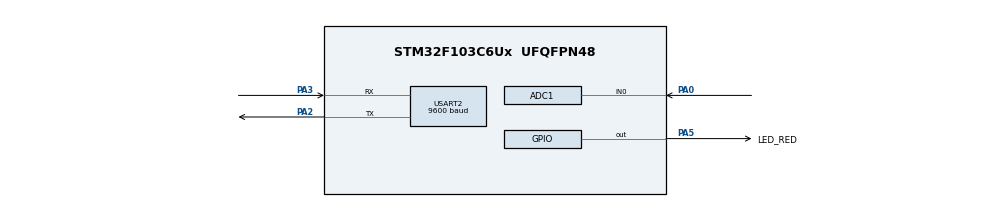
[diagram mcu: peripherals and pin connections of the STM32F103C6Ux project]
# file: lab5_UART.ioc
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ADC1.Channel-0\#ChannelRegularConversion=ADC_CHANNEL_0
ADC1.ContinuousConvMode=ENABLE
ADC1.NbrOfConversionFlag=1
ADC1.Rank-0\#ChannelRegularConversion=1
ADC1.SamplingTime-0\#ChannelRegularConversion=ADC_SAMPLETIME_1CYCLE_5
ADC1.master=1
Mcu.Family=STM32F1
Mcu.Name=STM32F103C6Ux
Mcu.Package=UFQFPN48
NVIC.PriorityGroup=NVIC_PRIORITYGROUP_4
NVIC.USART2_IRQn=true\:0\:0\:false\:false\:true\:true\:true
PA0-WKUP.Signal=ADCx_IN0
PA2.Mode=Asynchronous
PA2.Signal=USART2_TX
PA3.Mode=Asynchronous
PA3.Signal=USART2_RX
PA5.GPIO_Label=LED_RED
PA5.Signal=GPIO_Output
ProjectManager.HeapSize=0x200
ProjectManager.StackSize=0x400
ProjectManager.TargetToolchain=STM32CubeIDE
RCC.APB1Freq_Value=8000000
RCC.APB2Freq_Value=8000000
SH.ADCx_IN0.0=ADC1_IN0,IN0
USART2.BaudRate=9600
USART2.VirtualMode=VM_ASYNC
VP_SYS_VS_ND.Mode=No_Debug
board=custom

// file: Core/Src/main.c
/* USER CODE BEGIN Header */
/**
  ******************************************************************************
  * @file           : main.c
  * @brief          : Main program body
  ******************************************************************************
  * @attention
  *
  * <h2><center>&copy; Copyright (c) 2025 STMicroelectronics.
  * All rights reserved.</center></h2>
  *
  * This software component is licensed by ST under BSD 3-Clause license,
  * the "License"; You may not use this file except in compliance with the
  * License. You may obtain a copy of the License at:
  *                        opensource.org/licenses/BSD-3-Clause
  *
  ******************************************************************************
  */
/* USER CODE END Header */
#include "main.h"

/* USER CODE BEGIN Includes */
#include <stdio.h>
#include <string.h>
/* USER CODE END Includes */

ADC_HandleTypeDef hadc1;

UART_HandleTypeDef huart2;

void SystemClock_Config(void);
static void MX_GPIO_Init(void);
static void MX_ADC1_Init(void);
static void MX_USART2_UART_Init(void);

/* USER CODE BEGIN 0 */

uint8_t temp = 0;                 // Byte nhận từ UART
uint8_t buffer[30];               // Buffer lưu dữ liệu UART
uint8_t index_buffer = 0;
uint8_t buffer_flag = 0;

uint32_t ADC_value = 0;
uint8_t last_char = 0;
char str[20];

// FSM flag
typedef enum {CMD_NONE, CMD_RST, CMD_OK} CommandType;
CommandType command_flag = CMD_NONE;

void HAL_UART_RxCpltCallback(UART_HandleTypeDef *huart)
{
	if(huart->Instance == USART2)
	{
        buffer[index_buffer] = temp;   // lưu vào buffer
        last_char = temp;              // ký tự mới nhất
        index_buffer++;

        if(index_buffer >= 30) index_buffer = 0;

        buffer_flag = 1;

		HAL_UART_Transmit(&huart2, &temp, 1, 50);
		HAL_UART_Receive_IT(&huart2, &temp, 1);
	}
}

typedef enum {WAIT_START, RECEIVE_CMD} ParserState;
ParserState parser_state = WAIT_START;

void command_parser_fsm(void)
{
    static char cmd[10];
    static uint8_t cmd_index = 0;

    for(uint8_t i = 0; i < index_buffer; i++)
    {
        char c = buffer[i];

        switch(parser_state)
        {
            case WAIT_START:
                if(c == '!'){
                    parser_state = RECEIVE_CMD;
                    cmd_index = 0;
                }
                break;

            case RECEIVE_CMD:
                if(c == '#'){
                    cmd[cmd_index] = '\0';

                    if(strcmp(cmd, "RST") == 0)
                        command_flag = CMD_RST;
                    else if(strcmp(cmd, "OK") == 0)
                        command_flag = CMD_OK;

                    parser_state = WAIT_START;
                }
                else {
                    if(cmd_index < 9)
                        cmd[cmd_index++] = c;
                }
                break;
        }
    }

    // chỉ reset buffer khi đã đọc hết
    index_buffer = 0;
}

typedef enum {IDLE, SEND_ADC, WAIT_OK} UARTState;
UARTState uart_state = IDLE;

uint32_t time_stamp = 0;

void uart_communication_fsm(void)
{
    switch(uart_state)
    {
        case IDLE:
            if(command_flag == CMD_RST)
            {
            	ADC_value = HAL_ADC_GetValue(&hadc1);
                uart_state = SEND_ADC;
                command_flag = CMD_NONE; // reset khi bắt đầu gửi ADC
            }
            break;

        case SEND_ADC:
            //ADC_value = HAL_ADC_GetValue(&hadc1);

            sprintf(str, "!ADC=%lu#", ADC_value);
            HAL_UART_Transmit(&huart2, (uint8_t*)str, strlen(str), 100);

            time_stamp = HAL_GetTick();
            uart_state = WAIT_OK;
            break;

        case WAIT_OK:
            if(command_flag == CMD_OK)
            {
                uart_state = IDLE;
                command_flag = CMD_NONE; // reset khi nhận OK
            }
            else if(HAL_GetTick() - time_stamp > 3000)
            {
                uart_state = SEND_ADC;  // timeout → gửi lại ADC
            }
            break;
    }
}

/* USER CODE END 0 */

int main(void)
{

  /* MCU Configuration--------------------------------------------------------*/

  /* Reset of all peripherals, Initializes the Flash interface and the Systick. */
  HAL_Init();

  /* Configure the system clock */
  SystemClock_Config();

  /* Initialize all configured peripherals */
  MX_GPIO_Init();
  MX_ADC1_Init();
  MX_USART2_UART_Init();
  /* USER CODE BEGIN 2 */
  HAL_ADC_Start(&hadc1);
  HAL_UART_Receive_IT(&huart2, &temp, 1);
  /* USER CODE END 2 */

  /* Infinite loop */
  /* USER CODE BEGIN WHILE */
  //uint32_t ADC_value = 0;
  //char str[10];
  while (1)
  {
	  HAL_GPIO_TogglePin(LED_RED_GPIO_Port, LED_RED_Pin);
	  HAL_Delay(500);

      if(buffer_flag){
          command_parser_fsm();
          buffer_flag = 0;
      }

      // Xử lý giao thức UART
      uart_communication_fsm();

    /* USER CODE END WHILE */

  }
}

void SystemClock_Config(void)
{
  RCC_OscInitTypeDef RCC_OscInitStruct = {0};
  RCC_ClkInitTypeDef RCC_ClkInitStruct = {0};
  RCC_PeriphCLKInitTypeDef PeriphClkInit = {0};

  /** Initializes the RCC Oscillators according to the specified parameters
  * in the RCC_OscInitTypeDef structure.
  */
  RCC_OscInitStruct.OscillatorType = RCC_OSCILLATORTYPE_HSI;
  RCC_OscInitStruct.HSIState = RCC_HSI_ON;
  RCC_OscInitStruct.HSICalibrationValue = RCC_HSICALIBRATION_DEFAULT;
  RCC_OscInitStruct.PLL.PLLState = RCC_PLL_NONE;
  if (HAL_RCC_OscConfig(&RCC_OscInitStruct) != HAL_OK)
  {
    Error_Handler();
  }
  /** Initializes the CPU, AHB and APB buses clocks
  */
  RCC_ClkInitStruct.ClockType = RCC_CLOCKTYPE_HCLK|RCC_CLOCKTYPE_SYSCLK
                              |RCC_CLOCKTYPE_PCLK1|RCC_CLOCKTYPE_PCLK2;
  RCC_ClkInitStruct.SYSCLKSource = RCC_SYSCLKSOURCE_HSI;
  RCC_ClkInitStruct.AHBCLKDivider = RCC_SYSCLK_DIV1;
  RCC_ClkInitStruct.APB1CLKDivider = RCC_HCLK_DIV1;
  RCC_ClkInitStruct.APB2CLKDivider = RCC_HCLK_DIV1;

  if (HAL_RCC_ClockConfig(&RCC_ClkInitStruct, FLASH_LATENCY_0) != HAL_OK)
  {
    Error_Handler();
  }
  PeriphClkInit.PeriphClockSelection = RCC_PERIPHCLK_ADC;
  PeriphClkInit.AdcClockSelection = RCC_ADCPCLK2_DIV2;
  if (HAL_RCCEx_PeriphCLKConfig(&PeriphClkInit) != HAL_OK)
  {
    Error_Handler();
  }
}

static void MX_ADC1_Init(void)
{

  ADC_ChannelConfTypeDef sConfig = {0};

  /** Common config
  */
  hadc1.Instance = ADC1;
  hadc1.Init.ScanConvMode = ADC_SCAN_DISABLE;
  hadc1.Init.ContinuousConvMode = ENABLE;
  hadc1.Init.DiscontinuousConvMode = DISABLE;
  hadc1.Init.ExternalTrigConv = ADC_SOFTWARE_START;
  hadc1.Init.DataAlign = ADC_DATAALIGN_RIGHT;
  hadc1.Init.NbrOfConversion = 1;
  if (HAL_ADC_Init(&hadc1) != HAL_OK)
  {
    Error_Handler();
  }
  /** Configure Regular Channel
  */
  sConfig.Channel = ADC_CHANNEL_0;
  sConfig.Rank = ADC_REGULAR_RANK_1;
  sConfig.SamplingTime = ADC_SAMPLETIME_1CYCLE_5;
  if (HAL_ADC_ConfigChannel(&hadc1, &sConfig) != HAL_OK)
  {
    Error_Handler();
  }

}

static void MX_USART2_UART_Init(void)
{

  huart2.Instance = USART2;
  huart2.Init.BaudRate = 9600;
  huart2.Init.WordLength = UART_WORDLENGTH_8B;
  huart2.Init.StopBits = UART_STOPBITS_1;
  huart2.Init.Parity = UART_PARITY_NONE;
  huart2.Init.Mode = UART_MODE_TX_RX;
  huart2.Init.HwFlowCtl = UART_HWCONTROL_NONE;
  huart2.Init.OverSampling = UART_OVERSAMPLING_16;
  if (HAL_UART_Init(&huart2) != HAL_OK)
  {
    Error_Handler();
  }

}

static void MX_GPIO_Init(void)
{
  GPIO_InitTypeDef GPIO_InitStruct = {0};

  /* GPIO Ports Clock Enable */
  __HAL_RCC_GPIOA_CLK_ENABLE();

  /*Configure GPIO pin Output Level */
  HAL_GPIO_WritePin(LED_RED_GPIO_Port, LED_RED_Pin, GPIO_PIN_RESET);

  /*Configure GPIO pin : LED_RED_Pin */
  GPIO_InitStruct.Pin = LED_RED_Pin;
  GPIO_InitStruct.Mode = GPIO_MODE_OUTPUT_PP;
  GPIO_InitStruct.Pull = GPIO_NOPULL;
  GPIO_InitStruct.Speed = GPIO_SPEED_FREQ_LOW;
  HAL_GPIO_Init(LED_RED_GPIO_Port, &GPIO_InitStruct);

}

void Error_Handler(void)
{
  __disable_irq();
  while (1)
  {
  }
}

/************************ (C) COPYRIGHT STMicroelectronics *****END OF FILE****/
